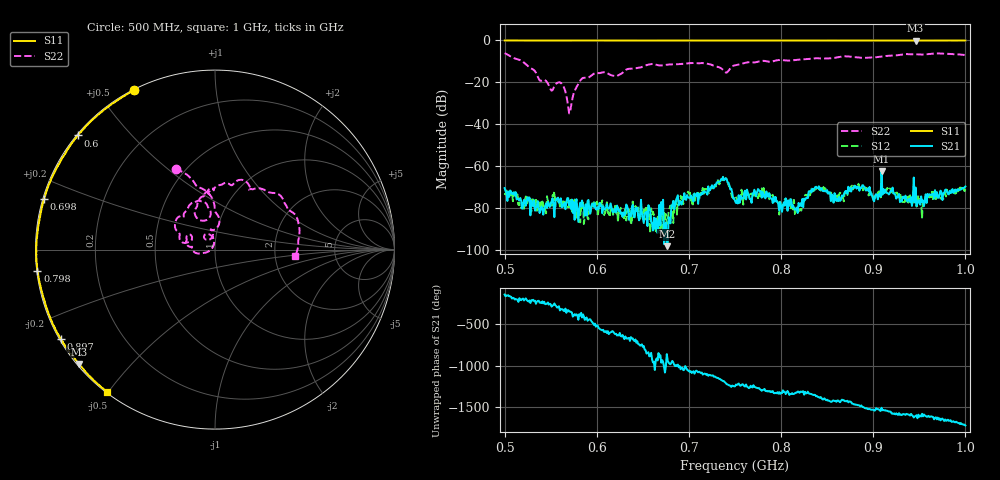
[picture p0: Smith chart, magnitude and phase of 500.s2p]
#  HZ  S  DB  R  50.00
! Rohde & Schwarz ZVB8 2Ports - Version 2.81 - 1145.1010k08 SN: 100113
! Date: 2014-04-03 01:54:19
! Measurements: S11 S21 S12 S22
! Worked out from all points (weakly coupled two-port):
!   501 points, 500 MHz to 1 GHz, reference 50 ohm
!   highest |S21| = -62.11 dB at 909 MHz (marker M1); lowest = -98.0 dB at 676 MHz (marker M2)
!   lowest |S11| = -0.1 dB at 946 MHz (marker M3), VSWR 179.71, Z = 0.315 - j18.3 ohm
!   |S11| at or under -10 dB: nowhere
!   |S22| runs from -34.7 to -6.1 dB; largest |S21 - S12| = 0.00058
!   S11 on the Smith chart (normalised r, x): 500 MHz: 0.00, +0.61; 600 MHz: 0.00, +0.36; 698 MHz: 0.00, +0.15; 798 MHz: 0.00, -0.06; 897 MHz: 0.00, -0.27; 1 GHz: 0.00, -0.50
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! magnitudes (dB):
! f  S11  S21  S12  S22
! 500 MHz  0.0  -70.3  -72.9  -6.1
! 519 MHz  0.0  -80.1  -79.0  -9.9
! 551 MHz  -0.1  -76.8  -78.7  -23.9
! 561 MHz  0.0  -75.2  -76.9  -20.3
! 570 MHz  0.0  -78.5  -78.3  -34.7
! 584 MHz  -0.1  -76.2  -79.8  -18.2
! 600 MHz  -0.1  -80.6  -76.8  -15.5
! 667 MHz  -0.1  -87.5  -83.2  -11.9
! 676 MHz  -0.1  -98.0  -87.3  -11.6
! 698 MHz  -0.1  -73.7  -73.0  -10.9
! 739 MHz  -0.1  -66.1  -66.1  -15.0
! 750 MHz  -0.1  -76.4  -74.0  -11.8
! 776 MHz  0.0  -71.3  -73.4  -10.0
! 798 MHz  0.0  -80.9  -83.0  -9.3
! 820 MHz  -0.1  -78.8  -81.1  -9.1
! 834 MHz  -0.1  -70.7  -71.5  -8.7
! 862 MHz  -0.1  -76.5  -76.8  -8.0
! 897 MHz  -0.1  -73.5  -71.9  -8.1
! 909 MHz  -0.1  -62.1  -72.5  -7.7
! 917 MHz  -0.1  -73.3  -71.4  -7.3
! 946 MHz  -0.1  -70.1  -75.3  -6.6
! 1 GHz  -0.1  -69.6  -70.9  -7.0
